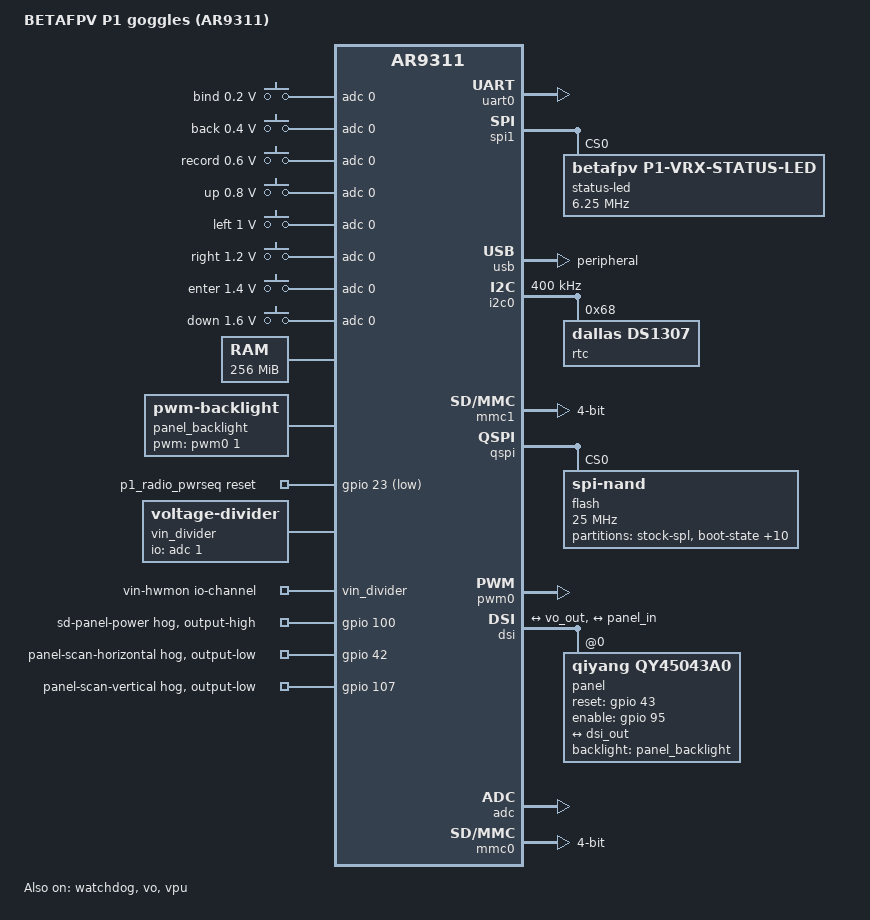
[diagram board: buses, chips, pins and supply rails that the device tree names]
// SPDX-License-Identifier: GPL-2.0-or-later
/* P1 goggles wiring from the stock device tree and VR04 platform research.
 * Independent NAND recovery; the stock bank and factory are preserved.
 */
/dts-v1/;
#include "ar9311.dtsi"
#include <dt-bindings/input/input.h>

/ {
	model = "BETAFPV P1 goggles (AR9311)";
	compatible = "betafpv,p1-goggle", "artosyn,proxima-9311";

	reboot-scratch@a106138 {
		compatible = "syscon", "simple-mfd";
		reg = <0 0x0a106138 0 4>;
		reboot-mode {
			compatible = "syscon-reboot-mode";
			offset = <0>;
			mode-normal = <2>;
			mode-bootloader = <3>;
		};
	};
	p1-goggle-keys {
		compatible = "adc-keys";
		io-channels = <&adc 0>;
		io-channel-names = "buttons";
		poll-interval = <10>;
		keyup-threshold-microvolt = <0>;
		button-bind { label = "bind"; linux,code = <KEY_CONNECT>; press-threshold-microvolt = <200000>; };
		button-back { label = "back"; linux,code = <KEY_BACK>; press-threshold-microvolt = <400000>; };
		button-record { label = "record"; linux,code = <KEY_RECORD>; press-threshold-microvolt = <600000>; };
		button-up { label = "up"; linux,code = <KEY_UP>; press-threshold-microvolt = <800000>; };
		button-left { label = "left"; linux,code = <KEY_LEFT>; press-threshold-microvolt = <1000000>; };
		button-right { label = "right"; linux,code = <KEY_RIGHT>; press-threshold-microvolt = <1200000>; };
		button-enter { label = "enter"; linux,code = <KEY_ENTER>; press-threshold-microvolt = <1400000>; };
		button-down { label = "down"; linux,code = <KEY_DOWN>; press-threshold-microvolt = <1600000>; };
	};

	aliases { serial0 = &uart0; };
	chosen {
		stdout-path = "serial0:1152000n8";
		bootargs = "console=ttyS0,1152000 earlycon loglevel=7 mem=148M rdinit=/init";
	};

	/* Stock has 256 MiB DRAM: 148 MiB Linux and 108 MiB media. */
	memory@20000000 {
		device_type = "memory";
		reg = <0 0x20000000 0 0x10000000>;
	};
	reserved-memory {
		#address-cells = <2>;
		#size-cells = <2>;
		ranges;
		codec_memory: media@29400000 {
			compatible = "shared-dma-pool";
			reg = <0 0x29400000 0 0x06b00000>;
			no-map;
		};
		loader@2ff00000 {
			reg = <0 0x2ff00000 0 0x00100000>;
			no-map;
		};
	};
};

/* The stock SPL uses the same secondary CPU handshake as P1 Air.
 * A diagnostic Linux-to-Linux loader may instead park CPU1 and use maxcpus=1.
 */
&cpu0 { enable-method = "ar-spin-table"; };
&cpu1 {
	enable-method = "ar-spin-table";
	cpu-release-addr = <0 0x00100000>;
};
&uart0 { status = "okay"; };

/* Stock goggles use the same SPI GRB status chain as the P1 VRX. */
&spi1 {
	status = "okay";
	status-led@0 {
		compatible = "betafpv,p1-vrx-status-led";
		reg = <0>;
		spi-max-frequency = <6250000>;
		spi-cpol;
		spi-cpha;
	};
};
&usb {
	status = "okay";
	dr_mode = "peripheral";
};
&watchdog { status = "okay"; };

/* The SoC temperature, for the receiver's canopy (fpvOS ar9311_temp). Its
 * window overlaps the SAR ADC's (the keypad's channel 0): no supply channel
 * is given here, so it never samples the ADC behind the keypad driver. */
&soc_temp {
	status = "okay";
};

/* The battery-backed clock, a DS1307 at 0x68 on I2C0 as every stock P1
 * ground tree has it: the kernel sets the system clock from it at boot, and
 * the updater's SET_TIME writes it (in UTC).
 */
&i2c0 {
	status = "okay";
	clock-frequency = <400000>;
	i2c-sda-hold-time-ns = <300>;
	i2c-sda-falling-time-ns = <300>;
	i2c-scl-falling-time-ns = <300>;

	rtc@68 {
		compatible = "dallas,ds1307";
		reg = <0x68>;
	};
};

&gpio {
	status = "okay";
	/* GPIO100 is the shared panel/SD I/O rail. Do not cycle it when
	 * probing or removing the SD card. Stock keeps it at 3.3 V.
	 */
	sd-panel-power-hog {
		gpio-hog;
		gpios = <100 GPIO_ACTIVE_HIGH>;
		output-high;
		line-name = "sd-panel-power";
	};
};
&mmc_clocks {
	status = "okay";
	artosyn,clock-config = <0x87 2>, <0x80 0>;
};
&mmc1 {
	status = "okay";
	clock-frequency = <100000000>;
	max-frequency = <50000000>;
	card-detect-delay = <200>;
	bus-width = <4>;
	cap-sd-highspeed;
	disable-wp;
	no-1-8-v;
	no-mmc;
	no-sdio;
};

&qspi_clock { status = "okay"; };
&qspi {
	status = "okay";
	clocks = <&qspi_clock>;
	flash@0 {
		compatible = "spi-nand";
		reg = <0>;
		spi-max-frequency = <25000000>;
		partitions {
			compatible = "fixed-partitions";
			#address-cells = <1>;
			#size-cells = <1>;
			partition@0 { label = "stock-spl"; reg = <0 0x100000>; read-only; };
			partition@100000 { label = "boot-state"; reg = <0x100000 0x80000>; };
			partition@180000 { label = "stock-vendor"; reg = <0x180000 0x80000>; read-only; };
			partition@200000 { label = "factory"; reg = <0x200000 0x600000>; read-only; };
			partition@800000 { label = "stock-bootloaders"; reg = <0x800000 0x240000>; read-only; };
			/* Both banks, under the stock names: an install picks the bank
			 * (fpvos-update: the one holding fpvOS, else the one not booted)
			 * and its checks, not the DT, keep the stock bank unwritten. */
			partition@a40000 { label = "kernel0"; reg = <0xa40000 0x600000>; };
			partition@1040000 { label = "kernel1"; reg = <0x1040000 0x600000>; };
			partition@1640000 { label = "dtb0"; reg = <0x1640000 0x60000>; };
			partition@16a0000 { label = "dtb1"; reg = <0x16a0000 0x60000>; };
			partition@1700000 { label = "userapp0"; reg = <0x1700000 0x2d00000>; };
			partition@4400000 { label = "userapp1"; reg = <0x4400000 0x2d00000>; };
			partition@7100000 { label = "usr_data"; reg = <0x7100000 0x600000>; };
		};
	};
};

/* Keep scan straps owned; the shared SD/panel rail is never cycled here. */
&gpio {
	panel-scan-horizontal {
		gpio-hog;
		gpios = <42 GPIO_ACTIVE_HIGH>;
		output-low;
		line-name = "panel-scan-horizontal";
	};
	panel-scan-vertical {
		gpio-hog;
		gpios = <107 GPIO_ACTIVE_HIGH>;
		output-low;
		line-name = "panel-scan-vertical";
	};
};

/ {
	panel_backlight: backlight {
		compatible = "pwm-backlight";
		pwms = <&pwm0 1 500000>;
		brightness-levels = <0 28 36 44 52 60 68 76 84 92 100>;
		default-brightness-level = <0>;
	};
};
&pwm0 { status = "okay"; };
&vo {
	status = "okay";
	artosyn,display-profile = "p1-goggle-1080p";
	port {
		vo_out: endpoint { remote-endpoint = <&dsi_in>; };
	};
};
&dsi {
	status = "okay";
	artosyn,display-profile = "p1-goggle-1080p";
	#address-cells = <1>;
	#size-cells = <0>;
	ports {
		#address-cells = <1>;
		#size-cells = <0>;
		port@0 {
			reg = <0>;
			dsi_in: endpoint { remote-endpoint = <&vo_out>; };
		};
		port@1 {
			reg = <1>;
			dsi_out: endpoint { remote-endpoint = <&panel_in>; };
		};
	};
	panel@0 {
		compatible = "qiyang,qy45043a0";
		reg = <0>;
		reset-gpios = <&gpio 43 GPIO_ACTIVE_HIGH>;
		enable-gpios = <&gpio 95 GPIO_ACTIVE_HIGH>;
		backlight = <&panel_backlight>;
		port {
			panel_in: endpoint { remote-endpoint = <&dsi_out>; };
		};
	};
};

&vpu {
	status = "okay";
	memory-region = <&codec_memory>;
	firmware-name = "artosyn/p1-goggle-chagall.bin";
};

&adc { status = "okay"; };

/* Stock start_ar813x.sh resets the radio on GPIO23. */
/ {
	p1_radio_pwrseq: radio-pwrseq {
		compatible = "artosyn,ar8030-pwrseq";
		reset-gpios = <&gpio 23 GPIO_ACTIVE_LOW>;
	};
};
&mmc0 {
	status = "okay";
	clock-frequency = <100000000>;
	max-frequency = <50000000>;
	bus-width = <4>;
	cap-sd-highspeed;
	cap-sdio-irq;
	broken-cd;
	no-mmc;
	no-sd;
	no-1-8-v;
	mmc-pwrseq = <&p1_radio_pwrseq>;
};

&watchdog { status = "okay"; };

/* The supply (RX SUPPLY): SAR ADC channel 1 through a 100k/5.1k divider, as
 * stock reads it (arlink_fpv 2.0.8 hamingVrxGndGetVoltage: in_voltage1_input
 * / 0.048525). Through the ADC's own driver, which the keypad's channel 0
 * shares, so the two never sample at once; kestrel-gnd reads vin_hwmon. */
/ {
	vin_divider: vin-divider {
		compatible = "voltage-divider";
		io-channels = <&adc 1>;
		#io-channel-cells = <0>;
		output-ohms = <5100>;
		full-ohms = <105100>;
	};
	vin-hwmon {
		compatible = "iio-hwmon";
		io-channels = <&vin_divider>;
	};
};
